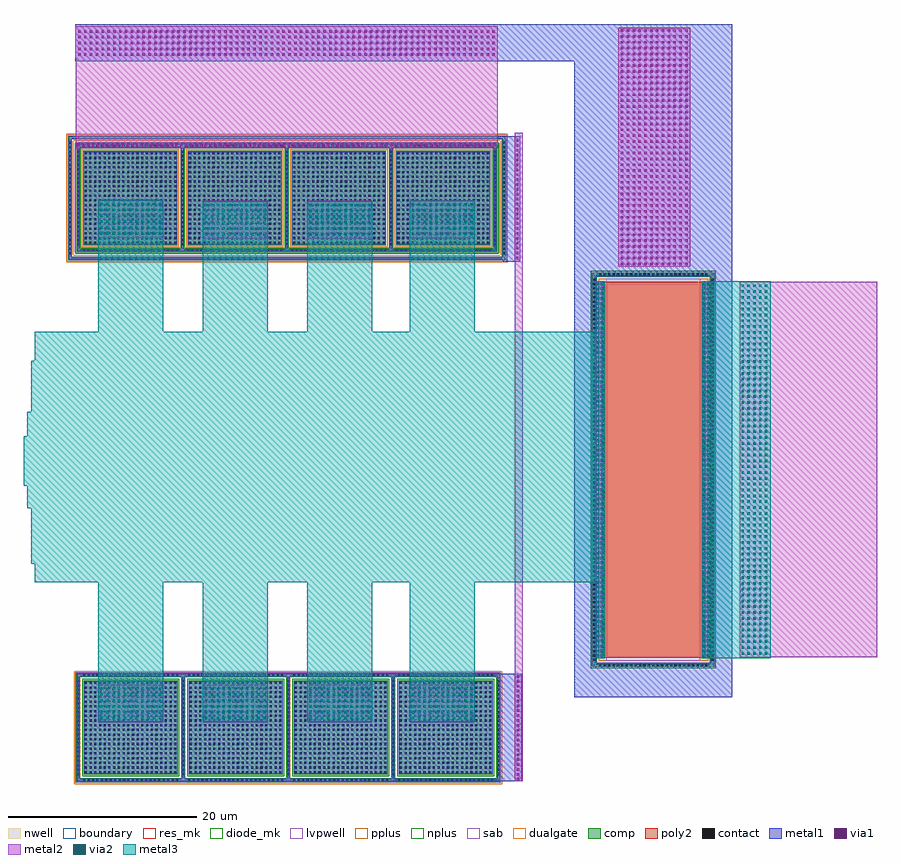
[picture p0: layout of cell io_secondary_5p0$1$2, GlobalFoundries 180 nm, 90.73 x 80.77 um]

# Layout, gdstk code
from math import pi, radians
import gdstk
lib = gdstk.Library(unit=1e-6, precision=5e-09)
def R(c, l, rs):  # rectangles x0, y0, x1, y1
    for r in rs: c.add(gdstk.rectangle(r[:2], r[2:], *l))
def A(c, l, x, y, w, h, nx, ny, dx, dy):  # array of equal rectangles
    R(c, l, [(x+i*dx, y+j*dy, x+i*dx+w, y+j*dy+h) for i in range(nx) for j in range(ny)])
boundary = (0, 0)
nwell = (21, 0)
comp = (22, 0)
poly2 = (30, 0)
pplus = (31, 0)
nplus = (32, 0)
contact = (33, 0)
metal1 = (34, 0)
via1 = (35, 0)
metal2 = (36, 0)
via2 = (38, 0)
metal3 = (42, 0)
sab = (49, 0)
dualgate = (55, 0)
res_mk = (110, 5)
diode_mk = (115, 5)
lvpwell = (204, 0)

ppolyf_u_9h3lnu_1 = lib.new_cell('ppolyf_u_9H3LNU$1')
R(ppolyf_u_9h3lnu_1, boundary, [(-20.78,-6.29,20.78,6.29)])
R(ppolyf_u_9h3lnu_1, nwell, [(-21.08,-6.59,21.08,6.59)])
R(ppolyf_u_9h3lnu_1, comp, [(-20.96,-6.47,20.96,-6.11), (-20.96,-6.11,-20.6,6.11), (20.6,-6.11,20.96,6.11), (-20.96,6.11,20.96,6.47)])
R(ppolyf_u_9h3lnu_1, poly2, [(-20,-5.51,20,5.51)])
R(ppolyf_u_9h3lnu_1, pplus, [(-20.3,-5.81,20.3,5.81)])
R(ppolyf_u_9h3lnu_1, nplus, [(-21.12,-6.63,21.12,-6), (-21.12,-6,-20.49,6), (20.49,-6,21.12,6), (-21.12,6,21.12,6.63)])
A(ppolyf_u_9h3lnu_1, contact, -20.32, -6.4, 0.22, 0.22, 87, 2, 0.47, 12.58)
A(ppolyf_u_9h3lnu_1, contact, -20.89, -5.75, 0.22, 0.22, 1, 25, 0, 0.47)
A(ppolyf_u_9h3lnu_1, contact, 20.67, -5.75, 0.22, 0.22, 1, 25, 0, 0.47)
A(ppolyf_u_9h3lnu_1, contact, -19.85, -5.44, 0.22, 0.22, 85, 2, 0.47, 10.66)
R(ppolyf_u_9h3lnu_1, metal1, [(-20.895,-6.405,20.895,-6.175), (-20.895,-6.175,-20.665,6.175), (20.665,-6.175,20.895,6.175), (-19.99,-5.445,19.99,-5.215), (-19.99,5.215,19.99,5.445), (-20.895,6.175,20.895,6.405)])
R(ppolyf_u_9h3lnu_1, sab, [(-20.28,-5,20.28,5)])
R(ppolyf_u_9h3lnu_1, res_mk, [(-20,-5,20,5)])

diode_pd2nw_06v0_5dg9hc_ = lib.new_cell('diode_pd2nw_06v0_5DG9HC$1')
R(diode_pd2nw_06v0_5dg9hc_, boundary, [(11.08,-5.54,22.16,5.54)])
R(diode_pd2nw_06v0_5dg9hc_, nwell, [(-22.5,-5.88,22.5,5.88)])
A(diode_pd2nw_06v0_5dg9hc_, comp, -22.34, -5.36, 0.36, 10.72, 5, 1, 11.08, 0)
A(diode_pd2nw_06v0_5dg9hc_, comp, -21.62, -5, 10, 10, 4, 1, 11.08, 0)
R(diode_pd2nw_06v0_5dg9hc_, comp, [(-23.22,-6.6,23.22,-6.24), (-23.22,-6.24,-22.86,6.24), (22.86,-6.24,23.22,6.24), (-22.34,-5.72,22.34,-5.36), (-22.34,5.36,22.34,5.72), (-23.22,6.24,23.22,6.6)])
A(diode_pd2nw_06v0_5dg9hc_, pplus, -21.78, -5.16, 10.32, 10.32, 4, 1, 11.08, 0)
R(diode_pd2nw_06v0_5dg9hc_, pplus, [(-23.24,-6.62,23.24,-6.115), (-23.25,-6.115,23.25,-6.08), (-23.25,-6.08,-22.7,6.08), (22.7,-6.08,23.25,6.08), (-23.25,6.08,23.25,6.115), (-23.24,6.115,23.24,6.62)])
A(diode_pd2nw_06v0_5dg9hc_, nplus, -11.29, -5.29, 0.42, 10.58, 3, 1, 11.08, 0)
R(diode_pd2nw_06v0_5dg9hc_, nplus, [(-22.5,-5.88,22.5,-5.29), (-22.5,-5.29,-21.91,5.29), (21.91,-5.29,22.5,5.29), (-22.5,5.29,22.5,5.88)])
A(diode_pd2nw_06v0_5dg9hc_, contact, -23.15, -5.985, 0.22, 0.22, 1, 26, 0, 0.47)
A(diode_pd2nw_06v0_5dg9hc_, contact, 22.93, -5.985, 0.22, 0.22, 1, 26, 0, 0.47)
A(diode_pd2nw_06v0_5dg9hc_, contact, -21.665, -5.65, 0.22, 0.22, 22, 2, 0.47, 11.08)
A(diode_pd2nw_06v0_5dg9hc_, contact, -10.585, -5.65, 0.22, 0.22, 22, 2, 0.47, 11.08)
A(diode_pd2nw_06v0_5dg9hc_, contact, 0.495, -5.65, 0.22, 0.22, 22, 2, 0.47, 11.08)
A(diode_pd2nw_06v0_5dg9hc_, contact, 11.575, -5.65, 0.22, 0.22, 22, 2, 0.47, 11.08)
A(diode_pd2nw_06v0_5dg9hc_, contact, -22.27, -5.045, 0.22, 0.22, 5, 22, 11.08, 0.47)
A(diode_pd2nw_06v0_5dg9hc_, contact, -21.48, -4.86, 0.22, 0.22, 20, 20, 0.5, 0.5)
A(diode_pd2nw_06v0_5dg9hc_, contact, -10.4, -4.86, 0.22, 0.22, 20, 20, 0.5, 0.5)
A(diode_pd2nw_06v0_5dg9hc_, contact, 0.68, -4.86, 0.22, 0.22, 20, 20, 0.5, 0.5)
A(diode_pd2nw_06v0_5dg9hc_, contact, 11.76, -4.86, 0.22, 0.22, 20, 20, 0.5, 0.5)
A(diode_pd2nw_06v0_5dg9hc_, metal1, -22.275, -5.425, 0.23, 10.85, 5, 1, 11.08, 0)
A(diode_pd2nw_06v0_5dg9hc_, metal1, -21.61, -4.935, 9.98, 9.87, 4, 1, 11.08, 0)
R(diode_pd2nw_06v0_5dg9hc_, metal1, [(-23.155,-6.535,23.155,-6.305), (-23.155,-6.305,-22.925,6.305), (22.925,-6.305,23.155,6.305), (-22.275,-5.655,22.275,-5.425), (-22.275,5.425,22.275,5.655), (-23.155,6.305,23.155,6.535)])
R(diode_pd2nw_06v0_5dg9hc_, dualgate, [(-23.46,-6.84,23.46,6.84)])
A(diode_pd2nw_06v0_5dg9hc_, diode_mk, -21.62, -5, 10, 10, 4, 1, 11.08, 0)
R(diode_pd2nw_06v0_5dg9hc_, lvpwell, [(-23.38,-6.76,23.38,-5.88), (-23.38,-5.88,-22.5,5.88), (22.5,-5.88,23.38,5.88), (-23.38,5.88,23.38,6.76)])

diode_nd2ps_06v0_mv3sz3_ = lib.new_cell('diode_nd2ps_06v0_MV3SZ3$1')
R(diode_nd2ps_06v0_mv3sz3_, boundary, [(11.16,-5.58,22.32,5.58)])
A(diode_nd2ps_06v0_mv3sz3_, comp, -22.5, -5.4, 0.36, 10.8, 5, 1, 11.16, 0)
A(diode_nd2ps_06v0_mv3sz3_, comp, -21.74, -5, 10, 10, 4, 1, 11.16, 0)
R(diode_nd2ps_06v0_mv3sz3_, comp, [(-22.5,-5.76,22.5,-5.4), (-22.5,5.4,22.5,5.76)])
A(diode_nd2ps_06v0_mv3sz3_, pplus, -22.015, -5.79, 10.55, 0.01, 4, 2, 11.16, 11.57)
A(diode_nd2ps_06v0_mv3sz3_, pplus, -11.37, -5.37, 0.42, 10.74, 3, 1, 11.16, 0)
R(diode_nd2ps_06v0_mv3sz3_, pplus, [(-22.52,-5.78,22.52,-5.37), (-22.52,-5.37,-22.11,-5.275), (22.11,-5.37,22.52,-5.275), (-22.53,-5.275,-22.11,5.275), (22.11,-5.275,22.53,5.275), (-22.52,5.275,-22.11,5.37), (22.11,5.275,22.52,5.37), (-22.52,5.37,22.52,5.78)])
A(diode_nd2ps_06v0_mv3sz3_, nplus, -21.9, -5.16, 10.32, 10.32, 4, 1, 11.16, 0)
A(diode_nd2ps_06v0_mv3sz3_, contact, -21.785, -5.69, 0.22, 0.22, 22, 2, 0.47, 11.16)
A(diode_nd2ps_06v0_mv3sz3_, contact, -10.625, -5.69, 0.22, 0.22, 22, 2, 0.47, 11.16)
A(diode_nd2ps_06v0_mv3sz3_, contact, 0.535, -5.69, 0.22, 0.22, 22, 2, 0.47, 11.16)
A(diode_nd2ps_06v0_mv3sz3_, contact, 11.695, -5.69, 0.22, 0.22, 22, 2, 0.47, 11.16)
A(diode_nd2ps_06v0_mv3sz3_, contact, -22.43, -5.045, 0.22, 0.22, 5, 22, 11.16, 0.47)
A(diode_nd2ps_06v0_mv3sz3_, contact, -21.6, -4.86, 0.22, 0.22, 20, 20, 0.5, 0.5)
A(diode_nd2ps_06v0_mv3sz3_, contact, -10.44, -4.86, 0.22, 0.22, 20, 20, 0.5, 0.5)
A(diode_nd2ps_06v0_mv3sz3_, contact, 0.72, -4.86, 0.22, 0.22, 20, 20, 0.5, 0.5)
A(diode_nd2ps_06v0_mv3sz3_, contact, 11.88, -4.86, 0.22, 0.22, 20, 20, 0.5, 0.5)
A(diode_nd2ps_06v0_mv3sz3_, metal1, -22.435, -5.465, 0.23, 10.93, 5, 1, 11.16, 0)
A(diode_nd2ps_06v0_mv3sz3_, metal1, -21.73, -4.935, 9.98, 9.87, 4, 1, 11.16, 0)
R(diode_nd2ps_06v0_mv3sz3_, metal1, [(-22.435,-5.695,22.435,-5.465), (-22.435,5.465,22.435,5.695)])
R(diode_nd2ps_06v0_mv3sz3_, dualgate, [(-22.74,-6,22.74,6)])
A(diode_nd2ps_06v0_mv3sz3_, diode_mk, -21.74, -5, 10, 10, 4, 1, 11.16, 0)
R(diode_nd2ps_06v0_mv3sz3_, lvpwell, [(-22.62,-5.88,22.62,5.88)])

io_secondary_5p0_1_2 = lib.new_cell('io_secondary_5p0$1$2')
R(io_secondary_5p0_1_2, metal1, [(12.625,-19.265,15.235,-7.875), (-29.7,-12.95,-22.9,-12.065), (-18.6,-12.95,-11.8,-12.065), (-7.5,-12.95,-0.7,-12.05), (3.4,-12.95,10.2,-12.05), (-29.71,-12.065,-22.9,-9.145), (-18.625,-12.065,-11.8,-9.145), (-7.5,-12.05,-0.695,-9.13), (3.4,-12.05,10.205,-9.13), (20.85,-10.35,37.6,-6.7), (-29.7,-9.145,-22.9,-9.1), (-18.6,-9.145,-11.8,-9.1), (-7.5,-9.13,-0.7,-9.1), (3.4,-9.13,10.2,-9.1), (20.85,-6.7,23.15,34.4), (35.35,-6.7,37.6,34.4), (23.4,-6.2,24.05,33.85), (34.4,-6.2,35.05,33.85), (20.85,34.4,37.6,57.25), (13.205,35.94,15.07,49.245), (-18.6,38.5,-11.8,38.565), (-7.5,38.5,-0.7,38.545), (-7.505,38.545,-0.7,41.465), (3.4,38.55,10.2,38.615), (-18.63,38.565,-11.8,41.485), (-29.7,38.6,-22.9,38.66), (3.4,38.615,10.205,41.535), (-29.715,38.66,-22.9,41.58), (-7.5,41.465,-0.7,42.35), (-18.6,41.485,-11.8,42.35), (3.4,41.535,10.2,42.4), (-29.7,41.58,-22.9,42.45), (-32.1,48.05,-31.85,48.1), (12.45,48.05,12.7,48.1), (-32.1,48.1,12.7,48.55), (-32.1,48.55,-31.85,48.6), (12.45,48.55,12.7,48.6), (-32.2,57.25,37.6,61.2)])
A(io_secondary_5p0_1_2, via1, 14.7, -19.19, 0.26, 0.26, 1, 22, 0, 0.52)
A(io_secondary_5p0_1_2, via1, -29.53, -12.705, 0.26, 0.26, 11, 6, 0.62, 0.62)
A(io_secondary_5p0_1_2, via1, -18.43, -12.705, 0.26, 0.26, 11, 6, 0.62, 0.62)
A(io_secondary_5p0_1_2, via1, -7.33, -12.705, 0.26, 0.26, 11, 6, 0.62, 0.62)
A(io_secondary_5p0_1_2, via1, 3.57, -12.705, 0.26, 0.26, 11, 6, 0.62, 0.62)
A(io_secondary_5p0_1_2, via1, 23.595, -6.065, 0.26, 0.26, 1, 77, 0, 0.52)
A(io_secondary_5p0_1_2, via1, 34.595, -6.065, 0.26, 0.26, 1, 77, 0, 0.52)
A(io_secondary_5p0_1_2, via1, 25.785, 35.57, 0.26, 0.26, 12, 41, 0.62, 0.62)
A(io_secondary_5p0_1_2, via1, 14.64, 36.21, 0.26, 0.26, 1, 25, 0, 0.52)
A(io_secondary_5p0_1_2, via1, -18.43, 38.745, 0.26, 0.26, 11, 6, 0.62, 0.62)
A(io_secondary_5p0_1_2, via1, -7.33, 38.745, 0.26, 0.26, 11, 6, 0.62, 0.62)
A(io_secondary_5p0_1_2, via1, 3.57, 38.795, 0.26, 0.26, 11, 6, 0.62, 0.62)
A(io_secondary_5p0_1_2, via1, -29.53, 38.845, 0.26, 0.26, 11, 6, 0.62, 0.62)
A(io_secondary_5p0_1_2, via1, -31.99, 48.195, 0.26, 0.26, 86, 1, 0.52, 0)
A(io_secondary_5p0_1_2, via1, -31.89, 57.805, 0.26, 0.26, 72, 5, 0.62, 0.62)
A(io_secondary_5p0_1_2, metal2, -29.7, -13, 6.8, 0.9, 3, 1, 11.1, 0)
R(io_secondary_5p0_1_2, metal2, [(14.5,-19.295,15.35,49.635), (3.4,-13,10.2,-12.15), (3.35,-12.15,10.25,-9.13), (-29.75,-12.1,-22.85,-9.145), (-18.65,-12.1,-11.75,-9.145), (-7.55,-12.1,-0.65,-9.13), (-29.7,-9.145,-22.9,-9), (-18.6,-9.145,-11.8,-9), (-7.5,-9.13,-0.7,-9), (3.4,-9.13,10.2,-9), (23.1,-6.2,24.05,33.85), (34.4,-6.2,35.25,33.85), (38.4,-6.1,53.04,33.8), (25.5,35.4,33.15,60.8), (-18.6,38.4,-11.8,38.565), (-7.5,38.4,-0.7,38.545), (3.4,38.45,10.2,38.615), (-29.7,38.5,-22.9,38.66), (-7.55,38.545,-0.65,41.65), (-18.65,38.565,-11.75,41.65), (3.35,38.615,10.25,41.6), (-29.75,38.66,-22.85,41.65), (3.4,41.6,10.2,42.45), (-29.7,41.65,-22.9,42.5), (-18.6,41.65,-11.8,42.4), (-7.5,41.65,-0.7,42.4), (-32.15,48,12.7,55.6), (-32.155,55.6,12.7,56.94), (-32.165,56.94,12.7,57.6), (-32.2,57.6,12.7,60.95)])
A(io_secondary_5p0_1_2, via2, -29.53, -12.68, 0.26, 0.26, 11, 6, 0.62, 0.62)
A(io_secondary_5p0_1_2, via2, -18.43, -12.68, 0.26, 0.26, 11, 6, 0.62, 0.62)
A(io_secondary_5p0_1_2, via2, -7.33, -12.68, 0.26, 0.26, 11, 6, 0.62, 0.62)
A(io_secondary_5p0_1_2, via2, 3.57, -12.68, 0.26, 0.26, 11, 6, 0.62, 0.62)
A(io_secondary_5p0_1_2, via2, 23.21, -6.065, 0.26, 0.26, 1, 77, 0, 0.52)
A(io_secondary_5p0_1_2, via2, 23.73, -6.065, 0.26, 0.26, 1, 77, 0, 0.52)
A(io_secondary_5p0_1_2, via2, 34.46, -6.065, 0.26, 0.26, 1, 77, 0, 0.52)
A(io_secondary_5p0_1_2, via2, 34.98, -6.065, 0.26, 0.26, 1, 77, 0, 0.52)
A(io_secondary_5p0_1_2, via2, 38.605, -5.81, 0.26, 0.26, 5, 64, 0.62, 0.62)
A(io_secondary_5p0_1_2, via2, -18.43, 38.72, 0.26, 0.26, 11, 6, 0.62, 0.62)
A(io_secondary_5p0_1_2, via2, -7.33, 38.72, 0.26, 0.26, 11, 6, 0.62, 0.62)
A(io_secondary_5p0_1_2, via2, 3.57, 38.77, 0.26, 0.26, 11, 6, 0.62, 0.62)
A(io_secondary_5p0_1_2, via2, -29.53, 38.82, 0.26, 0.26, 11, 6, 0.62, 0.62)
A(io_secondary_5p0_1_2, metal3, -29.75, -12.95, 6.9, 14.815, 3, 1, 11.1, 0)
R(io_secondary_5p0_1_2, metal3, [(3.35,-12.95,10.25,1.865), (23.18,-6.22,24.065,1.865), (34.4,-6.2,41.7,33.85), (-36.49,1.865,-35.7,28.48), (-36.08,1.865,24.065,28.48), (-29.75,28.48,-22.85,42.45), (-18.65,28.48,-11.75,42.35), (-7.55,28.48,-0.65,42.35), (3.35,28.48,10.25,42.4), (23.18,28.48,24.065,33.86)])
io_secondary_5p0_1_2.add(gdstk.FlexPath([(-36.49,25.42),(-36.49,3.82)], 0.8, ends="flush", simple_path=True, layer=42, datatype=0))  # metal3
io_secondary_5p0_1_2.add(gdstk.FlexPath([(-36.89,9.75),(-36.89,19.99)], 0.8, ends="flush", simple_path=True, layer=42, datatype=0))  # metal3
io_secondary_5p0_1_2.add(gdstk.FlexPath([(-37.29,12.15),(-37.29,17.39)], 0.8, ends="flush", simple_path=True, layer=42, datatype=0))  # metal3
io_secondary_5p0_1_2.add(gdstk.Reference(ppolyf_u_9h3lnu_1, (29.235,13.83), rotation=3*pi/2))
io_secondary_5p0_1_2.add(gdstk.Reference(diode_pd2nw_06v0_5dg9hc_, (-9.72,42.71)))
io_secondary_5p0_1_2.add(gdstk.Reference(diode_nd2ps_06v0_mv3sz3_, (-9.58,-13.57)))

lib.write_gds('io_secondary_5p0_1_2.gds')
